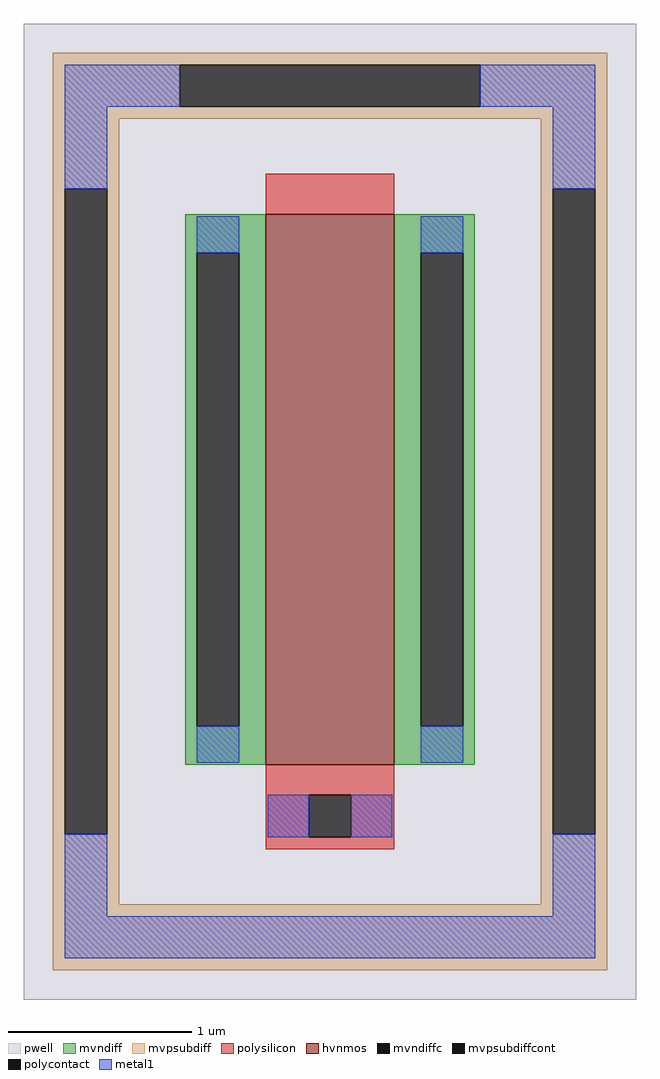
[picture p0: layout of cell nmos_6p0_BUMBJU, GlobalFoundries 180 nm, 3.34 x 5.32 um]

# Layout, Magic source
magic
tech gf180mcuD
magscale 1 10
<< pwell >>
rect -334 -532 334 532
<< hvnmos >>
rect -70 -276 70 324
<< mvndiff >>
rect -158 282 -70 324
rect -158 -234 -145 282
rect -99 -234 -70 282
rect -158 -276 -70 -234
rect 70 282 158 324
rect 70 -234 99 282
rect 145 -234 158 282
rect 70 -276 158 -234
<< mvndiffc >>
rect -145 -234 -99 282
rect 99 -234 145 282
<< mvpsubdiff >>
rect -302 487 302 500
rect -302 441 -164 487
rect 164 441 302 487
rect -302 428 302 441
rect -302 352 -230 428
rect -302 -352 -289 352
rect -243 -352 -230 352
rect 230 352 302 428
rect -302 -428 -230 -352
rect 230 -352 243 352
rect 289 -352 302 352
rect 230 -428 302 -352
rect -302 -500 302 -428
<< mvpsubdiffcont >>
rect -164 441 164 487
rect -289 -352 -243 352
rect 243 -352 289 352
<< polysilicon >>
rect -70 324 70 368
rect -70 -309 70 -276
rect -70 -355 -23 -309
rect 23 -355 70 -309
rect -70 -368 70 -355
<< polycontact >>
rect -23 -355 23 -309
<< metal1 >>
rect -289 441 -164 487
rect 164 441 289 487
rect -289 352 -243 441
rect 243 352 289 441
rect -145 282 -99 322
rect -145 -274 -99 -234
rect 99 282 145 322
rect 99 -274 145 -234
rect -289 -441 -243 -352
rect -68 -355 -23 -309
rect 23 -355 68 -309
rect 243 -441 289 -352
rect -289 -487 289 -441
<< properties >>
string FIXED_BBOX -266 -464 266 464
string GDS_END 10912
string GDS_FILE ../gds/simple_por.gds.gz
string GDS_START 7004
<< end >>
